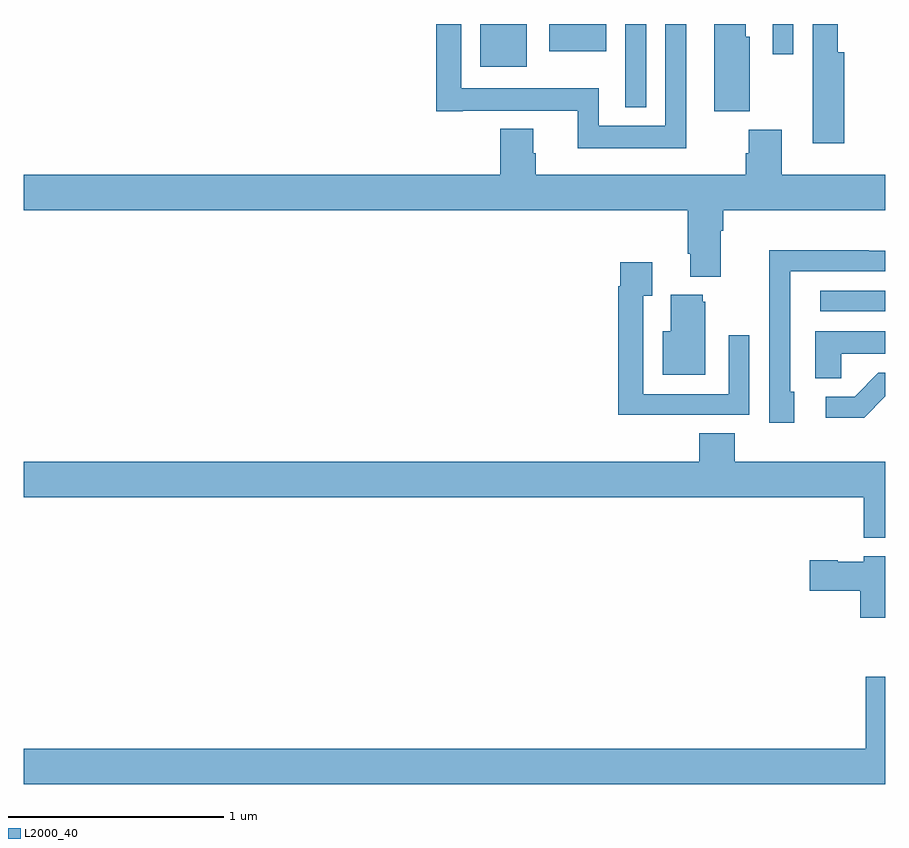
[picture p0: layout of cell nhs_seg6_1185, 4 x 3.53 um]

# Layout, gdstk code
import gdstk
lib = gdstk.Library(unit=1e-6, precision=1e-09)
def R(c, l, rs):  # rectangles x0, y0, x1, y1
    for r in rs: c.add(gdstk.rectangle(r[:2], r[2:], *l))
def P(c, l, *ps):  # polygons
    for p in ps: c.add(gdstk.Polygon(p, *l))
L2000_40 = (2000, 40)

nhs_seg6_1185 = lib.new_cell('nhs_seg6_1185')
R(nhs_seg6_1185, L2000_40, [(186.699,980.166,187,980.262), (185.793,981.113,185.889,981.5), (185.12,981.302,185.335,981.5), (186.477,981.36,186.573,981.5), (185.439,981.374,185.704,981.5)])
P(nhs_seg6_1185, L2000_40, [(186.809,981.37),(186.779,981.37),(186.779,981.5),(186.663,981.5),(186.663,981.266),(186.662,981.266),(186.662,980.946),(186.809,980.946)],
  [(186.37,981.441),(186.352,981.441),(186.352,981.5),(186.206,981.5),(186.206,981.094),(186.37,981.094)],
  [(186.076,981.5),(185.979,981.5),(185.979,981.028),(185.67,981.028),(185.67,981.202),(185.031,981.202),(185.031,981.5),(184.915,981.5),(184.915,981.096),(185.038,981.096),(185.038,981.098),(185.573,981.098),(185.573,980.924),(186.076,980.924)],
  [(187,980.8),(186.518,980.8),(186.518,981.009),(186.365,981.009),(186.365,980.9),(186.353,980.9),(186.353,980.8),(185.378,980.8),(185.378,980.901),(185.365,980.901),(185.365,981.013),(185.213,981.013),(185.213,980.8),(183,980.8),(183,980.636),(186.083,980.636),(186.083,980.434),(186.095,980.434),(186.095,980.327),(186.235,980.327),(186.235,980.54),(186.248,980.54),(186.248,980.636),(187,980.636)],
  [(186.577,979.794),(186.558,979.794),(186.558,980.352),(187,980.352),(187,980.448),(186.923,980.448),(186.923,980.45),(186.46,980.45),(186.46,980.143),(186.462,980.143),(186.462,979.65),(186.577,979.65)],
  [(186.053,979.686),(186.369,979.686),(186.369,980.056),(186.273,980.056),(186.273,979.782),(185.877,979.782),(185.877,980.239),(185.917,980.239),(185.917,980.395),(185.769,980.395),(185.769,980.282),(185.761,980.282),(185.761,979.685),(186.053,979.685)],
  [(186.163,980.211),(186.152,980.211),(186.152,980.242),(186.005,980.242),(186.005,980.074),(185.966,980.074),(185.966,979.871),(186.163,979.871)],
  [(186.795,979.97),(187,979.97),(187,980.074),(186.674,980.074),(186.674,979.855),(186.795,979.855)],
  [(187,979.771),(187,979.881),(186.968,979.881),(186.857,979.77),(186.723,979.77),(186.723,979.673),(186.901,979.673)],
  [(187,979.468),(186.302,979.468),(186.302,979.601),(186.137,979.601),(186.137,979.468),(183,979.468),(183,979.304),(186.899,979.304),(186.899,979.115),(187,979.115)],
  [(187,979.03),(186.9,979.03),(186.9,979.003),(186.78,979.003),(186.78,979.011),(186.648,979.011),(186.648,978.869),(186.884,978.869),(186.884,978.744),(187,978.744)],
  [(187,978.469),(186.91,978.469),(186.91,978.136),(183,978.136),(183,977.972),(187,977.972)])

lib.write_gds('nhs_seg6_1185.gds')
